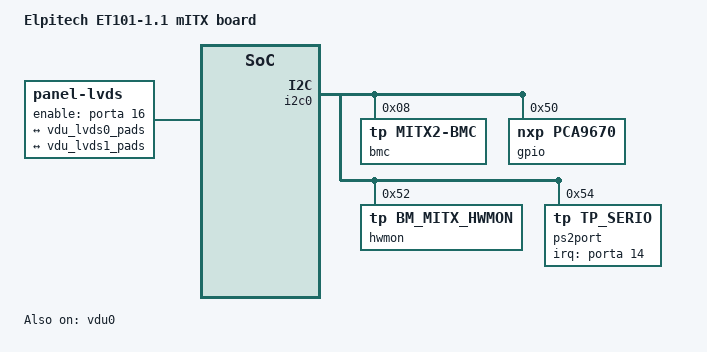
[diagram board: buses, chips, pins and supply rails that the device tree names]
// SPDX-License-Identifier: GPL-2.0
/*
 * Elpitech ET101-1.1 Mini-ITX board device tree
 */

/dts-v1/;

#include "bm-et101.dtsi"

/ {

	model = "Elpitech ET101-1.1 mITX board";

	panel {
		compatible = "panel-lvds";
		width-mm = <223>;
		height-mm = <125>;
		data-mapping = "vesa-24";
		enable-gpios = <&porta 16 GPIO_ACTIVE_HIGH>;
		panel-timing {
		// 1920x1080 @60Hz
			clock-frequency = <148500000>;
			hactive = <1920>;
			vactive = <1080>;
			hsync-len = <44>;
			hfront-porch = <88>;
			hback-porch = <148>;
			vsync-len = <5>;
			vfront-porch = <4>;
			vback-porch = <36>;
		};
		port {
			#address-cells = <1>;
			#size-cells = <0>;
			panel0_lvds0: endpoint@0 {
				reg = <0>;
				remote-endpoint = <&vdu_lvds0_pads>;
			};
			panel0_lvds1: endpoint@1 {
				reg = <1>;
				remote-endpoint = <&vdu_lvds1_pads>;
			};
		};
	};
};

&vdu0 {
	status = "okay";
	num-lanes = <2>;
	lvds-lanes = <2>;
	port {
		#address-cells = <1>;
		#size-cells = <0>;
		vdu_lvds0_pads: endpoint@0 {
			reg = <0>;
			remote-endpoint = <&panel0_lvds0>;
		};
		vdu_lvds1_pads: endpoint@1 {
			reg = <1>;
			remote-endpoint = <&panel0_lvds1>;
		};
	};
};

&i2c0 {
	status = "okay";

	bmc@8 {
		compatible = "tp,mitx2-bmc", "t-platforms,mitx2-bmc";
		reg = <0x08>;
	};

	gpio@50 {
		compatible = "nxp,pca9670";
		#gpio-cells = <2>;
		gpio-controller;
		reg = <0x50>;
	};

	hwmon@52 {
		compatible = "tp,bm_mitx_hwmon";
		reg = <0x52>;
	};

	ps2port@54 {
		compatible = "tp,tp_serio";
		reg = <0x54>;
		interrupt-parent = <&porta>;
		interrupts = <14 8>;
	};
};
